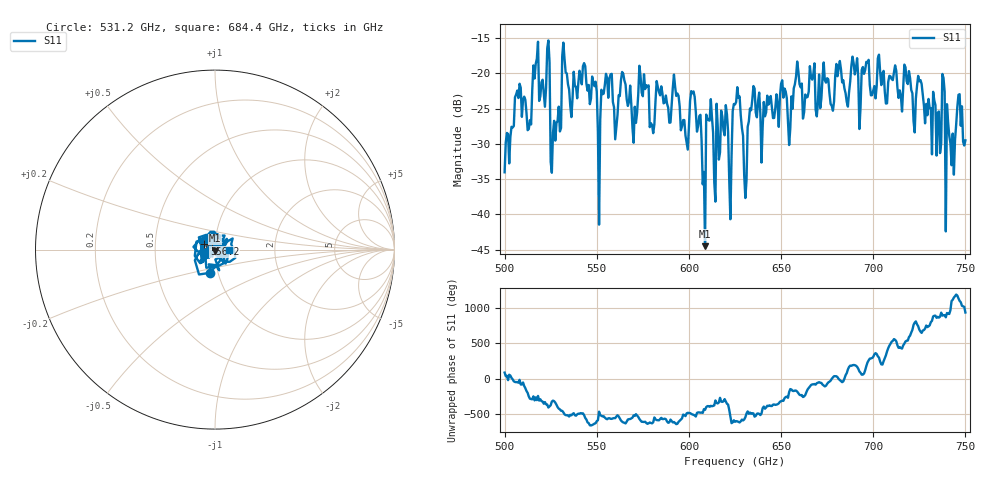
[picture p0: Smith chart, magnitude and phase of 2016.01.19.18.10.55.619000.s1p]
!Created with skrf (http://scikit-rf.org).
# GHz S RI R 50.0
!freq ReS11 ImS11
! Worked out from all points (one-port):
!   401 points, 500 GHz to 750 GHz, reference 50 ohm
!   lowest |S11| = -44.5 dB at 608.8 GHz (marker M1), VSWR 1.01, Z = 50 - j0.595 ohm
!   |S11| at or under -10 dB: start of sweep to end of sweep
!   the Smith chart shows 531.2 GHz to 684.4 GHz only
!   S11 on the Smith chart (normalised r, x): 531.2 GHz: 0.92, -0.24; 556.2 GHz: 0.89, +0.06; 684.4 GHz: 1.17, -0.00
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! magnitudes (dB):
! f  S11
! 500 GHz  -34.0
! 507.5 GHz  -23.5
! 513.1 GHz  -27.9
! 516.9 GHz  -18.7
! 523.1 GHz  -16.5
! 526.2 GHz  -28.4
! 531.2 GHz  -17.6
! 548.8 GHz  -21.8
! 551.9 GHz  -26.6
! 556.2 GHz  -23.5
! 562.5 GHz  -23.2
! 570.6 GHz  -24.7
! 576.9 GHz  -21.7
! 580 GHz  -27.3
! 593.8 GHz  -22.9
! 598.8 GHz  -29.8
! 602.5 GHz  -22.6
! 608.8 GHz  -44.5
! 610.6 GHz  -26.7
! 622.5 GHz  -40.7
! 625 GHz  -24.4
! 630 GHz  -34.5
! 634.4 GHz  -23.8
! 656.2 GHz  -25.0
! 684.4 GHz  -22.2
! 687.5 GHz  -21.2
! 718.8 GHz  -21.5
! 750 GHz  -29.5
